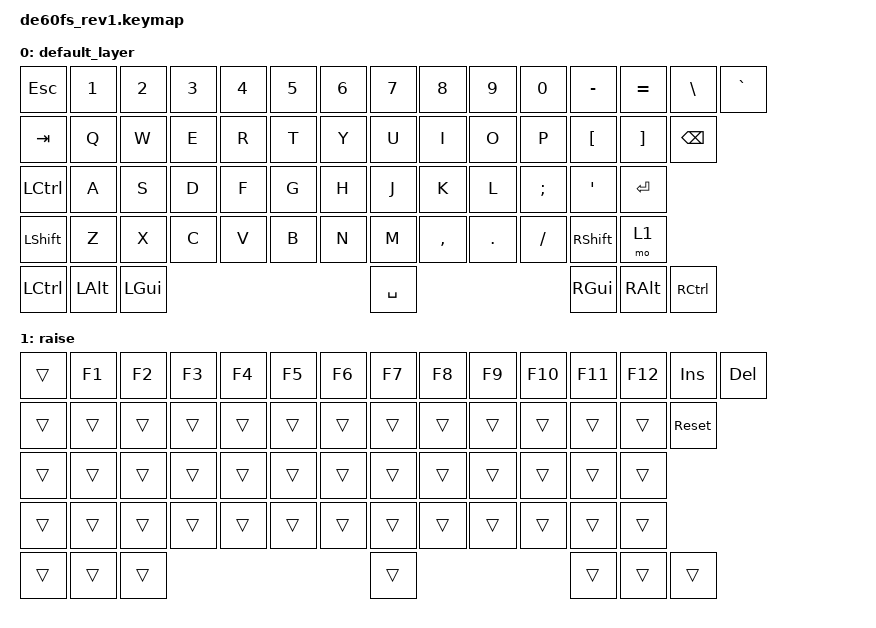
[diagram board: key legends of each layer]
#include <behaviors.dtsi>
#include <dt-bindings/zmk/keys.h>

/ {
    keymap {
        compatible = "zmk,keymap";
        
        default_layer {
                // ------------------------------------------------------------------------------------------
                // | ESC |  1  |  2  |  3  |  4  |  5  |  6  |  7  |  8  |  9  |  0  |  -  |  =  |  \  | `  |
                // | TAB  |  Q  |  W  |  E  |  R  |  T  |  Y  |  U  |  I  |  O  |  P  |  [  |  ]  |  BSPC   |
                // | CTRL  |  A  |  S  |  D  |  F  |  G  |  H  |  J  |  K  |  L  |  ;  |  '  |      ENTER   |
                // |  SHIFT    |  Z  |  X  |  C  |  V  |  B  |  N  |  M  |  ,  |  .  | /   | SHIFT |   1    |
                // |  CAPS  |  ALT  |  WIN |                     SPACE               |   WIN   | ALT | CTRL |
                // ------------------------------------------------------------------------------------------
            bindings = <
                &kp ESC       &kp N1          &kp N2          &kp N3        &kp N4    &kp N5    &kp N6    &kp N7    &kp  N8      &kp  N9     &kp  N0       &kp MINUS     &kp EQUAL          &kp BSLH    &kp GRAVE
                &kp TAB       &kp Q           &kp W           &kp E         &kp R     &kp T     &kp Y     &kp U     &kp  I       &kp  O      &kp  P        &kp LBKT      &kp RBKT           &kp BSPC
                &kp LCTRL     &kp A           &kp S           &kp D         &kp F     &kp G     &kp H     &kp J     &kp  K       &kp  L      &kp SEMI      &kp SQT       &kp RET
                &kp LSHFT     &kp Z           &kp X           &kp C         &kp V     &kp B     &kp N     &kp M     &kp COMMA    &kp DOT     &kp FSLH      &kp RSHFT     &mo 1
                &kp LCTRL     &kp LALT        &kp LGUI                                                    &kp SPACE                                        &kp RGUI      &kp RALT           &kp RCTRL
            >;
        };

        raise {
            bindings = <
                &trans        &kp F1          &kp F2          &kp F3        &kp F4    &kp F5    &kp F6    &kp F7    &kp F8       &kp F9      &kp F10       &kp F11       &kp F12            &kp INS      &kp DEL
                &trans        &trans          &trans          &trans        &trans    &trans    &trans    &trans    &trans       &trans      &trans        &trans        &trans             &sys_reset
                &trans        &trans          &trans          &trans        &trans    &trans    &trans    &trans    &trans       &trans      &trans        &trans        &trans
                &trans        &trans          &trans          &trans        &trans    &trans    &trans    &trans    &trans       &trans      &trans        &trans        &trans
                &trans        &trans          &trans                                                      &trans                                           &trans        &trans             &trans
            >;
        };
        
    };
};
